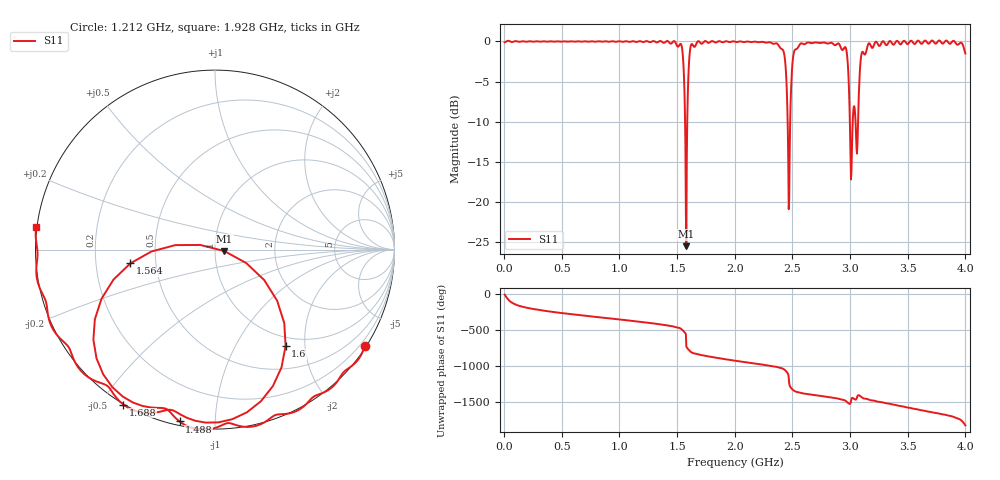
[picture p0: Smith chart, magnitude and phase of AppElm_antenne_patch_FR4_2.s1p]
! TOUCHSTONE file generated by CST MICROWAVE STUDIO
! Date and time: Tue Jun 14 14:31:12 2022
! Project name: AppElm_antenne_patch_FR4.cst
! Parameters = {L=45; W=58.5; e=0.035; h=1.6; lambda=0.190476; ls=96; w0=2.54; w1=0.847; ws=120; y0=18; y1=23.8}
! Header version: 2018
! Port assignment regex: !\s*Touchstone port\s*([0-9]+)\s*=\s*(CST MWS port|CST DS port)\s*([0-9]+|Zmin|Zmax)\s*\(\"(.*)\"\)(\s*mode\s*([0-9]+))?.*
! Touchstone port assignment:
! Touchstone port 1 = CST MWS port 1 ("")
# GHz S MA R 50
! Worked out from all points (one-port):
!   1000 points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, 4 MHz to 4 GHz, reference 50 ohm
!   lowest |S11| = -25.5 dB at 1.58 GHz (marker M1), VSWR 1.11, Z = 55.5 - j0.924 ohm
!   |S11| at or under -10 dB: 2.459 GHz to 2.481 GHz (22.05 MHz wide, 0.893 % of centre); 2.998 GHz to 3.023 GHz (24.96 MHz wide, 0.829 % of centre); 3.047 GHz to 3.069 GHz (21.7 MHz wide, 0.71 % of centre)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
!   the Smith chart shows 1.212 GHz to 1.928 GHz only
!   S11 on the Smith chart (normalised r, x): 1.212 GHz: 0.04, -3.39; 1.488 GHz: 0.02, -0.81; 1.564 GHz: 0.36, -0.07; 1.6 GHz: 0.85, -1.64; 1.688 GHz: -0.00, -0.57; 1.928 GHz: -0.00, +0.06
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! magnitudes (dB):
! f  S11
! 4 MHz  -0.1
! 504 MHz  0.0
! 1.004 GHz  0.0
! 1.212 GHz  -0.1
! 1.488 GHz  -0.2
! 1.504 GHz  -0.6
! 1.544 GHz  -1.0
! 1.564 GHz  -6.4
! 1.58 GHz  -25.5
! 1.6 GHz  -3.5
! 1.62 GHz  -0.4
! 1.688 GHz  0.0
! 1.928 GHz  0.0
! 2.004 GHz  0.0
! 2.408 GHz  -0.9
! 2.436 GHz  -2.3
! 2.468 GHz  -20.9
! 2.484 GHz  -7.8
! 2.504 GHz  -2.2
! 2.58 GHz  -0.2
! 2.952 GHz  -0.7
! 2.976 GHz  -2.0
! 3.004 GHz  -14.6
! 3.056 GHz  -13.3
! 3.1 GHz  -1.5
! 3.156 GHz  -0.4
! 3.504 GHz  -0.3
! 4 GHz  -1.5
